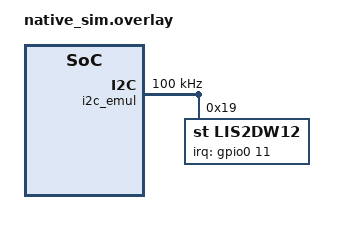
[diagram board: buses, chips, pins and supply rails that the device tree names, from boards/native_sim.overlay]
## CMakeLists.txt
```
# 软件静止判定的测试（native_sim + ztest + i2c_emul 假 LIS2DW12）。
#
# 为什么值得单测：上一版把 SENSOR_TRIG_STATIONARY 挂在 INT2 上而本板只接 INT1,
# sensor_trigger_set() 返回 0、日志还打了 INFO,但事件永不到达 ——
# 后果是车动过一次之后 BLE 广播永远关不掉（DESIGN.md §2.4 的防跟踪保证）。
# 这类「配置成功、功能静默失效」只有走完整条链并观察状态真的翻回来才抓得到。
#
# 被测的是 firmware/nrf52840/src/motion.c 的**原件**,跑真的 LIS2DW12 驱动
# （挂在 i2c_emul 上的假芯片）+ 真的 GPIO 中断,不是直接调内部函数。

cmake_minimum_required(VERSION 3.20.0)

find_package(Zephyr REQUIRED HINTS $ENV{ZEPHYR_BASE})
project(motion_still C)

set(FW ${CMAKE_CURRENT_LIST_DIR}/../../nrf52840)

target_sources(app PRIVATE
    src/main.c
    ${FW}/src/motion.c
)

target_include_directories(app PRIVATE ${FW}/src)
```

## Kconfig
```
# motion.c 需要的项目 Kconfig 符号。
#
# 真固件的定义在 firmware/nrf52840/Kconfig；这里只补齐让 motion.c 能编，
# 但 **STILL_AFTER_S 刻意设成 2 秒**（真固件默认 30）——
# 否则每个用例都要等半分钟。测试断言用的是这个符号本身，不是硬编码的秒数，
# 所以改这个值不会让测试失真。

config EBIKE_STILL_AFTER_S
	int "多久没有运动事件就判静止（秒）"
	default 2
	range 1 600

config EBIKE_MOTION_THRESHOLD_MG
	int "运动唤醒阈值（mg）"
	default 150
	range 31 2000

config EBIKE_LOG_LEVEL
	int "本项目模块的日志等级"
	default 4
	range 0 4

source "Kconfig.zephyr"
```

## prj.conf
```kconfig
# motion_still 测试的配置。
#
# 与 firmware/nrf52840/prj.conf 的关系：**不共用**，但两处必须一致的是
# `CONFIG_LIS2DW12_SLEEP` —— 真固件里它是**关的**（STATIONARY 走 INT2，
# 本板没接线），这里也必须关，否则测的就不是真固件的那份行为。

CONFIG_ZTEST=y
CONFIG_ASSERT=y

CONFIG_LOG=y
CONFIG_LOG_MODE_IMMEDIATE=y
CONFIG_EBIKE_LOG_LEVEL=4

# --- 传感器 -------------------------------------------------------------------
CONFIG_SENSOR=y
CONFIG_LIS2DW12=y
CONFIG_LIS2DW12_TRIGGER_OWN_THREAD=y
CONFIG_LIS2DW12_THREAD_STACK_SIZE=1024
CONFIG_LIS2DW12_WAKEUP=y
# ⚠ 与真固件一致：不开。见文件头。
# CONFIG_LIS2DW12_SLEEP is not set

CONFIG_I2C=y
CONFIG_GPIO=y

# --- 仿真后端 -----------------------------------------------------------------
# i2c_emul 挂假芯片，gpio_emul 注入 INT1 边沿。
CONFIG_EMUL=y
CONFIG_I2C_EMUL=y
CONFIG_GPIO_EMUL=y

CONFIG_MAIN_STACK_SIZE=4096
CONFIG_ZTEST_STACK_SIZE=4096
# 静止超时跑在系统工作队列上，栈要够回调里的 snprintf
CONFIG_SYSTEM_WORKQUEUE_STACK_SIZE=2048
```

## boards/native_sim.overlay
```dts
/*
 * native_sim 上顶掉 motion.c 的硬件依赖。
 *
 * motion.c 只要 `DT_NODELABEL(lis2dw12)`。这里把它挂到 i2c_emul 上，
 * 中断线接 gpio_emul —— 两者都能在主机上跑。
 *
 * ⚠ 属性名是 `irq-gpios`，**不是** `int1-gpios`（真 overlay 里有同样的注释）。
 * ⚠ `int-pin = <1>` 必须和真 overlay 一致：驱动用它决定把 wu 路由到
 *    INT1 还是 INT2，而本方案只接 INT1。
 * ⚠ `power-mode` / `odr` / `range` / `wakeup-duration` 都照抄真 overlay ——
 *    阈值换算依赖 `range`（一格 = FS/64），改了测试的边界断言就失真。
 */

#include <zephyr/dt-bindings/gpio/gpio.h>
#include <zephyr/dt-bindings/i2c/i2c.h>
#include <zephyr/dt-bindings/sensor/lis2dw12.h>

/ {
	i2c_emul: i2c@400 {
		compatible = "zephyr,i2c-emul-controller";
		status = "okay";
		reg = <0x400 4>;
		#address-cells = <1>;
		#size-cells = <0>;
		clock-frequency = <I2C_BITRATE_STANDARD>;

		lis2dw12: lis2dw12@19 {
			compatible = "st,lis2dw12";
			status = "okay";
			reg = <0x19>;
			irq-gpios = <&gpio0 11 GPIO_ACTIVE_HIGH>;
			int-pin = <1>;
			odr = <12>;
			range = <2>;
			power-mode = <LIS2DW12_DT_LP_M1>;
			wakeup-duration = <LIS2DW12_DT_WAKEUP_2_ODR>;
		};
	};
};
```

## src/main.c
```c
/*
 * 软件静止判定的测试。
 *
 * 被测的是 firmware/nrf52840/src/motion.c 的原件。
 *
 * 为什么必须有这个测试：上一版把 `SENSOR_TRIG_STATIONARY` 挂在 INT2 上，
 * 而本板只接了 INT1 —— `sensor_trigger_set()` 返回 0、日志打了一行 INFO，
 * 但事件永远不会到达。后果不是「少一个事件」，而是一条**静默失效的保证**：
 * `main.c` 的 `moving` 只在 STILL 分支清，于是车动过一次之后 BLE 广播
 * 永远关不掉（DESIGN.md §2.4 的防跟踪保证）。
 *
 * 这一类 bug 只有「走完整条链并观察状态真的翻回来」才抓得到，
 * 所以测试跑真的 LIS2DW12 驱动（挂在 i2c_emul 上的假芯片）+ 真的 GPIO 中断，
 * 而不是直接调 motion.c 的内部函数。
 */

#include "motion.h"

#include <stdbool.h>
#include <string.h>

#include <zephyr/device.h>
#include <zephyr/drivers/emul.h>
#include <zephyr/drivers/gpio.h>
#include <zephyr/drivers/gpio/gpio_emul.h>
#include <zephyr/drivers/i2c.h>
#include <zephyr/drivers/i2c_emul.h>
#include <zephyr/kernel.h>
#include <zephyr/ztest.h>

/* --- 假 LIS2DW12（i2c_emul 上的寄存器阵列） ----------------------------------
 *
 * 只需要让驱动的 init 和中断处理跑通，不模拟真实的加速度物理：
 *   WHO_AM_I (0x0F) 必须回 0x44，否则 lis2dw12_power_up 失败、整个 init 失败；
 *   STATUS_DUP (0x37) 起 5 个字节是 all_sources_get 读的（reg.c:585），
 *     其中 ALL_INT_SRC (0x3B) 的 bit1 = wu_ia 决定驱动派发 MOTION；
 *   OUT_X_L (0x28) 起 6 字节是三轴数据，随便给。
 * 其余寄存器一律可读可写，写进去就存着。
 */

#define REG_COUNT       0x40
#define REG_WHO_AM_I    0x0F
#define REG_STATUS_DUP  0x37
#define REG_ALL_INT_SRC 0x3B
#define LIS2DW12_ID     0x44
#define WU_IA_BIT       BIT(1)

static uint8_t fake_regs[REG_COUNT];

/* stmemsc 的 burst read 会把 bit7 当自增标志（stmemsc_i2c.c 的
 * STMEMSC_I2C_ADDR_AUTO_INCR），所以取地址时要把它掩掉。 */
#define REG_ADDR(b) ((b) & 0x7F)

static int fake_transfer(const struct emul *target, struct i2c_msg *msgs,
			 int num_msgs, int addr)
{
	ARG_UNUSED(target);
	ARG_UNUSED(addr);

	if (num_msgs < 1 || msgs[0].len < 1) {
		return -EIO;
	}

	uint8_t reg = REG_ADDR(msgs[0].buf[0]);

	if (num_msgs == 1) {
		/* 写：第一字节是寄存器地址，后面是数据 */
		for (size_t i = 1; i < msgs[0].len; i++) {
			if (reg + i - 1 < REG_COUNT) {
				fake_regs[reg + i - 1] = msgs[0].buf[i];
			}
		}
		return 0;
	}

	/* 读：msgs[0] 是地址，msgs[1] 是数据 */
	for (size_t i = 0; i < msgs[1].len; i++) {
		msgs[1].buf[i] = (reg + i < REG_COUNT) ? fake_regs[reg + i] : 0;
	}
	return 0;
}

static const struct i2c_emul_api fake_api = {
	.transfer = fake_transfer,
};

static struct i2c_emul fake_emul;

static int fake_init(const struct emul *target, const struct device *parent)
{
	memset(fake_regs, 0, sizeof(fake_regs));
	fake_regs[REG_WHO_AM_I] = LIS2DW12_ID;

	fake_emul.target = target;
	fake_emul.api = &fake_api;
	fake_emul.addr = 0x19;
	return i2c_emul_register(parent, &fake_emul);
}

EMUL_DT_DEFINE(DT_NODELABEL(lis2dw12), fake_init, NULL, NULL, &fake_api, NULL);

/* --- 中断注入 ---------------------------------------------------------------- */

static const struct gpio_dt_spec irq =
	GPIO_DT_SPEC_GET(DT_NODELABEL(lis2dw12), irq_gpios);

/* 制造一次运动中断：置 wu_ia，拉一下 INT1。
 *
 * 驱动配的是 `GPIO_INT_EDGE_TO_ACTIVE`（lis2dw12_trigger.c 的
 * init_interrupt 结尾），所以要有一次 0→1 的边沿。 */
static void inject_motion(void)
{
	fake_regs[REG_ALL_INT_SRC] |= WU_IA_BIT;

	(void)gpio_emul_input_set_dt(&irq, 0);
	(void)gpio_emul_input_set_dt(&irq, 1);
	/* 驱动自己的线程（CONFIG_LIS2DW12_TRIGGER_OWN_THREAD=y）要跑起来 */
	k_sleep(K_MSEC(50));
	(void)gpio_emul_input_set_dt(&irq, 0);

	fake_regs[REG_ALL_INT_SRC] &= ~WU_IA_BIT;
}

/* --- 回调记录 ---------------------------------------------------------------- */

#define CB_MAX 16

static struct {
	enum motion_state state;
	uint16_t mg;
} cb_log[CB_MAX];
static size_t cb_n;

static void on_motion(enum motion_state state, uint16_t mg)
{
	if (cb_n < CB_MAX) {
		cb_log[cb_n].state = state;
		cb_log[cb_n].mg = mg;
		cb_n++;
	}
}

static int cb_count(enum motion_state s)
{
	int n = 0;

	for (size_t i = 0; i < cb_n; i++) {
		if (cb_log[i].state == s) {
			n++;
		}
	}
	return n;
}

/* --- 脚手架 ------------------------------------------------------------------ */

/* 测试用的静止超时。prj.conf 里设成 2 秒（真固件默认 30），
 * 否则每个用例都要等半分钟。 */
#define STILL_S CONFIG_EBIKE_STILL_AFTER_S

static void *setup(void)
{
	zassert_true(device_is_ready(DEVICE_DT_GET(DT_NODELABEL(lis2dw12))),
		     "假 LIS2DW12 没就绪 —— WHO_AM_I 回对了吗？");
	zassert_ok(motion_init(on_motion), "motion_init 失败");
	return NULL;
}

ZTEST_SUITE(motion_still, NULL, setup, NULL, NULL, NULL);

/* --- 核心：动过之后必须能自己回到静止 ----------------------------------------- */

/* 这是上一版失效的那条链。**没有这一条，广播就永远关不掉。** */
ZTEST(motion_still, test_returns_to_still_after_timeout)
{
	cb_n = 0;

	inject_motion();
	zassert_equal(motion_current(), MOTION_MOVING,
		      "注入运动中断后状态不是 MOVING —— 中断链没打通");
	zassert_equal(cb_count(MOTION_MOVING), 1, "没回调 MOVING");

	/* 等超时。给 1.5 倍余量 —— 工作队列的调度不是即时的。 */
	k_sleep(K_SECONDS(STILL_S * 3 / 2 + 1));

	zassert_equal(motion_current(), MOTION_STILL,
		      "超时后状态没回到 STILL —— 车动过一次就永远是 moving，"
		      "BLE 广播永远关不掉（DESIGN.md §2.4）");
	zassert_equal(cb_count(MOTION_STILL), 1, "没回调 STILL");
}

/* --- 持续运动不能被误判成静止 -------------------------------------------------- */

/* 骑行途中状态一直是 MOVING、不跳变。如果定时器只在状态跳变时重推，
 * 第一个超时点就会误判静止 —— 于是骑到一半广播被关掉。
 * 这一条要求 `trigger_handler()` **每次**都重推。 */
ZTEST(motion_still, test_sustained_motion_never_goes_still)
{
	cb_n = 0;

	/* 以「小于超时」的间隔连续动 3 个超时周期那么久。 */
	int64_t deadline = k_uptime_get() + STILL_S * 3 * 1000;

	while (k_uptime_get() < deadline) {
		inject_motion();
		zassert_equal(motion_current(), MOTION_MOVING,
			      "持续运动期间被判成静止了 —— 定时器没有每次重推");
		k_sleep(K_MSEC(STILL_S * 1000 / 2));
	}

	zassert_equal(motion_current(), MOTION_MOVING, "结束时应该还是 MOVING");
	zassert_equal(cb_count(MOTION_STILL), 0,
		      "持续运动期间报了 %d 次静止", cb_count(MOTION_STILL));
	/* 状态没跳变，所以 MOVING 只该回调一次（第一次进入时）。 */
	zassert_equal(cb_count(MOTION_MOVING), 1,
		      "MOVING 回调了 %d 次 —— 状态没跳变不该重复回调",
		      cb_count(MOTION_MOVING));
}

/* --- 非加速度来源的活动也要能推后 ---------------------------------------------- */

/* BLE 连上来、有人在开锁 —— 有人正在动这辆车，即使加速度没到阈值，
 * 也不该在这时判静止把广播关掉。 */
ZTEST(motion_still, test_note_activity_defers_still)
{
	cb_n = 0;

	inject_motion();
	zassert_equal(motion_current(), MOTION_MOVING, "前置状态应该是 MOVING");

	/* 在超时前反复用 note_activity 推后，跨过两个超时周期。 */
	for (int i = 0; i < 4; i++) {
		k_sleep(K_MSEC(STILL_S * 1000 / 2));
		motion_note_activity();
		zassert_equal(motion_current(), MOTION_MOVING,
			      "note_activity 没能推后静止判定（第 %d 次）", i);
	}

	/* 停止推后，让它自己超时。 */
	k_sleep(K_SECONDS(STILL_S * 3 / 2 + 1));
	zassert_equal(motion_current(), MOTION_STILL,
		      "停止 note_activity 之后应该能判静止");
}

/* --- 阈值的边界 --------------------------------------------------------------- */

/* 一格 = FS/64 = 31.25 mg @±2 g，低于一格会被驱动截成 0 = 一直触发。
 * motion.c 自己挡了这一条 —— 那是唯一能挡的地方，DTS 里没有这个属性。 */
ZTEST(motion_still, test_threshold_below_one_lsb_rejected)
{
	zassert_not_equal(motion_set_threshold_mg(30), 0,
			  "30 mg 应该被拒 —— 低于一格(31.25 mg)会被截成 0，"
			  "变成持续触发");
	zassert_ok(motion_set_threshold_mg(150), "150 mg 应该被接受");
}
```
